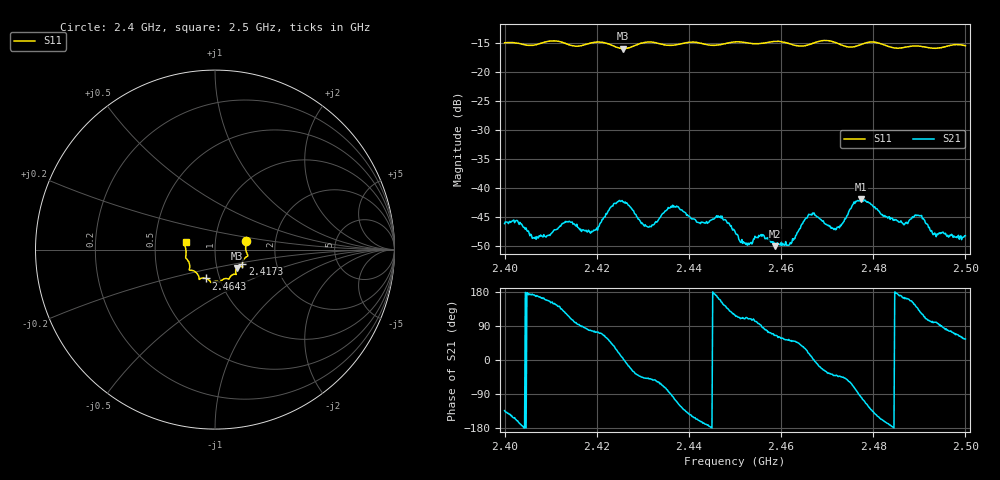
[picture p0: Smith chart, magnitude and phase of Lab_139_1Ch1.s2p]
# Hz S RI R 50
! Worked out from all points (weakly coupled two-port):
!   601 points, 2.4 GHz to 2.5 GHz, reference 50 ohm
!   highest |S21| = -41.99 dB at 2.4773 GHz (marker M1); lowest = -50.1 dB at 2.4587 GHz (marker M2)
!   lowest |S11| = -15.9 dB at 2.4257 GHz (marker M3), VSWR 1.38, Z = 62.5 - j13.1 ohm
!   |S11| at or under -10 dB: start of sweep to end of sweep
!   S12 and S22 are empty: the file has one direction only
!   S11 on the Smith chart (normalised r, x): 2.4 GHz: 1.41, +0.14; 2.4173 GHz: 1.34, -0.22; 2.4643 GHz: 0.86, -0.28; 2.5 GHz: 0.72, +0.06
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2.4e9  0.173 0.0486  -0.00339 -0.00354  0 0  0 0
2.4065e9  0.172 -0.00427  -0.00361 0.000557  0 0  0 0
2.413667e9  0.1689 -0.0448  -0.00239 0.00447  0 0  0 0
2.416667e9  0.1526 -0.0742  0.000136 0.00419  0 0  0 0
2.417333e9  0.1519 -0.0816  0.000351 0.00425  0 0  0 0
2.425667e9  0.1227 -0.1023  0.00752 0.00065  0 0  0 0
2.430667e9  0.1183 -0.1384  0.00312 -0.00349  0 0  0 0
2.433333e9  0.1129 -0.1372  0.00279 -0.00444  0 0  0 0
2.437e9  0.0873 -0.1484  -0.00176 -0.00661  0 0  0 0
2.442167e9  0.0736 -0.164  -0.00469 -0.00175  0 0  0 0
2.446833e9  0.0414 -0.1682  -0.00528 0.00214  0 0  0 0
2.45e9  0.0289 -0.1808  -0.00199 0.00368  0 0  0 0
2.458667e9  -0.0215 -0.1837  0.00132 0.00284  0 0  0 0
2.461833e9  -0.0294 -0.1741  0.00201 0.00252  0 0  0 0
2.464333e9  -0.05 -0.1607  0.00367 0.00294  0 0  0 0
2.466667e9  -0.076 -0.1594  0.00575 0.000808  0 0  0 0
2.471833e9  -0.0884 -0.1576  0.00326 -0.00286  0 0  0 0
2.477333e9  -0.1295 -0.1156  -0.00106 -0.00789  0 0  0 0
2.483333e9  -0.1407 -0.0899  -0.00548 -0.00112  0 0  0 0
2.49e9  -0.1634 -0.0407  -0.00373 0.00438  0 0  0 0
2.493333e9  -0.1608 -0.0103  -0.000684 0.00401  0 0  0 0
2.5e9  -0.1641 0.0428  0.00219 0.00317  0 0  0 0
